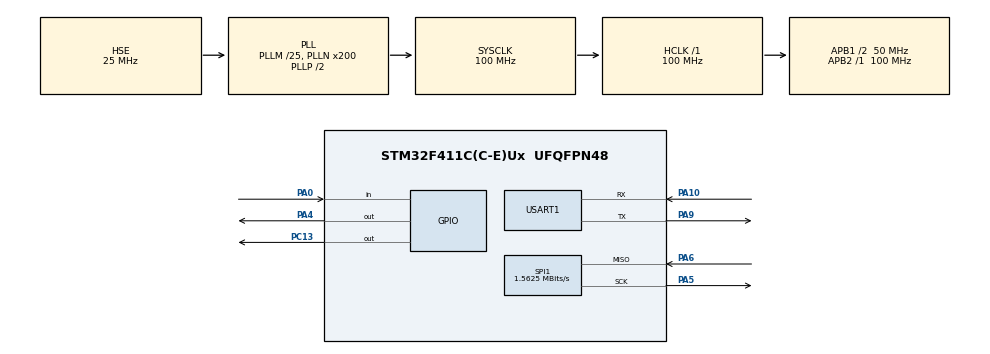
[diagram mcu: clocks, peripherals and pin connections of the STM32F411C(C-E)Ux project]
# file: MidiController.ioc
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Mcu.Family=STM32F4
Mcu.Name=STM32F411C(C-E)Ux
Mcu.Package=UFQFPN48
NVIC.PriorityGroup=NVIC_PRIORITYGROUP_4
NVIC.TIM3_IRQn=true\:5\:0\:false\:false\:true\:false\:true\:false
NVIC.TIM4_IRQn=true\:0\:0\:false\:false\:true\:true\:true\:true
PA0-WKUP.Signal=GPIO_Input
PA10.Mode=Asynchronous
PA10.Signal=USART1_RX
PA13.Mode=Trace_Asynchronous_SW
PA13.Signal=SYS_JTMS-SWDIO
PA14.Mode=Trace_Asynchronous_SW
PA14.Signal=SYS_JTCK-SWCLK
PA4.Signal=GPIO_Output
PA5.Mode=RX_Only_Simplex_Unidirect_Master
PA5.Signal=SPI1_SCK
PA6.Mode=RX_Only_Simplex_Unidirect_Master
PA6.Signal=SPI1_MISO
PA9.Mode=Asynchronous
PA9.Signal=USART1_TX
PB3.Mode=Trace_Asynchronous_SW
PB3.Signal=SYS_JTDO-SWO
PC13-ANTI_TAMP.Signal=GPIO_Output
PH0\ -\ OSC_IN.Mode=HSE-External-Oscillator
PH0\ -\ OSC_IN.Signal=RCC_OSC_IN
PH1\ -\ OSC_OUT.Mode=HSE-External-Oscillator
PH1\ -\ OSC_OUT.Signal=RCC_OSC_OUT
ProjectManager.HeapSize=0x200
ProjectManager.StackSize=0x400
ProjectManager.TargetToolchain=CMake
RCC.48MHZClocksFreq_Value=50000000
RCC.AHBFreq_Value=100000000
RCC.APB1CLKDivider=RCC_HCLK_DIV2
RCC.APB1Freq_Value=50000000
RCC.APB1TimFreq_Value=100000000
RCC.APB2Freq_Value=100000000
RCC.APB2TimFreq_Value=100000000
RCC.CortexFreq_Value=100000000
RCC.HCLKFreq_Value=100000000
RCC.HSE_VALUE=25000000
RCC.HSI_VALUE=16000000
RCC.LSE_VALUE=32768
RCC.PLLM=25
RCC.PLLN=200
RCC.PLLSourceVirtual=RCC_PLLSOURCE_HSE
RCC.SYSCLKFreq_VALUE=100000000
RCC.SYSCLKSource=RCC_SYSCLKSOURCE_PLLCLK
RCC.VCOOutputFreq_Value=200000000
SPI1.BaudRatePrescaler=SPI_BAUDRATEPRESCALER_64
SPI1.CalculateBaudRate=1.5625 MBits/s
SPI1.Direction=SPI_DIRECTION_2LINES_RXONLY
SPI1.Mode=SPI_MODE_MASTER
SPI1.VirtualType=VM_MASTER
TIM3.Period=4999
TIM3.Prescaler=9999
TIM4.Period=999
TIM4.Prescaler=99
USART1.VirtualMode=VM_ASYNC
VP_TIM3_VS_ClockSourceINT.Mode=Internal
VP_TIM4_VS_ClockSourceINT.Mode=Internal
board=custom

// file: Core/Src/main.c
/* USER CODE BEGIN Header */
/**
  ******************************************************************************
  * @file           : main.c
  * @brief          : Main program body
  ******************************************************************************
  * @attention
  *
  * Copyright (c) 2026 STMicroelectronics.
  * All rights reserved.
  *
  * This software is licensed under terms that can be found in the LICENSE file
  * in the root directory of this software component.
  * If no LICENSE file comes with this software, it is provided AS-IS.
  *
  ******************************************************************************
  */
/* USER CODE END Header */
#include "main.h"

/* USER CODE BEGIN Includes */
#include <stdio.h>
#include <stdbool.h>

#include "encoders.h"
#include "version.h"
/* USER CODE END Includes */

/* USER CODE BEGIN PM */
//#define LOG_SHOW_DECODER_BITS  1
/* USER CODE END PM */

SPI_HandleTypeDef hspi1;

TIM_HandleTypeDef htim3;
TIM_HandleTypeDef htim4;

UART_HandleTypeDef huart1;

/* USER CODE BEGIN PV */

bool g_debugLogging = false; // Debug logging initially turned off

/* USER CODE END PV */

void SystemClock_Config(void);
static void MX_GPIO_Init(void);
static void MX_USART1_UART_Init(void);
static void MX_TIM3_Init(void);
static void MX_SPI1_Init(void);
static void MX_TIM4_Init(void);
/* USER CODE BEGIN PFP */
static void CheckDebugButton(void);
static uint16_t Shift_Register_Read(void);
/* USER CODE END PFP */

int main(void)
{

  /* MCU Configuration--------------------------------------------------------*/

  /* Reset of all peripherals, Initializes the Flash interface and the Systick. */
  HAL_Init();

  /* Configure the system clock */
  SystemClock_Config();

  /* Initialize all configured peripherals */
  MX_GPIO_Init();
  MX_USART1_UART_Init();
  MX_TIM3_Init();
  MX_SPI1_Init();
  MX_TIM4_Init();
  /* USER CODE BEGIN 2 */
  printf("==============================\r\n");
  printf("MidiController %u.%u.%u.%u\r\n",
    VERSION_MAJOR, VERSION_MINOR, VERSION_PATCH, VERSION_BUILD);
  printf("Build: %s %s\r\n", __DATE__, __TIME__);
  printf("==============================\r\n");

  // Start the LED blink timer; the LED is toggled from HAL_TIM_PeriodElapsedCallback
  HAL_TIM_Base_Start_IT(&htim3);

  // Start the SPI timer for the encoder shift register; calls HAL_TIM_PeriodElapsedCallback
  HAL_TIM_Base_Start_IT(&htim4);

  /* USER CODE END 2 */

  /* Infinite loop */
  /* USER CODE BEGIN WHILE */
  int encoderTurnsPrev[ENCODER_COUNT] = {0};
  bool encoderButtonStatesPrev[ENCODER_COUNT] = {false};
  while (1)
  {
    // Wait until at least 500 ms has passed since startup to avoid false button presses during initialization
    if(HAL_GetTick() < 500)
      HAL_Delay(500);

    // Log any encoder turn changes
    for (int j = 0; j < ENCODER_COUNT; j++)
    {
      int turns = Encoders_GetTurns(j);
      if(turns != encoderTurnsPrev[j])
      {
        printf("E:%d T:%d\r\n", j, turns);
        encoderTurnsPrev[j] = turns;
      }

      bool buttonState = Encoders_GetButtonState(j);
      if(buttonState != encoderButtonStatesPrev[j])
      {
        printf("E:%d B:%d\r\n", j, buttonState);
        encoderButtonStatesPrev[j] = buttonState;
      }
    }
  }
    /* USER CODE END WHILE */

}

void SystemClock_Config(void)
{
  RCC_OscInitTypeDef RCC_OscInitStruct = {0};
  RCC_ClkInitTypeDef RCC_ClkInitStruct = {0};

  /** Configure the main internal regulator output voltage
  */
  __HAL_RCC_PWR_CLK_ENABLE();
  __HAL_PWR_VOLTAGESCALING_CONFIG(PWR_REGULATOR_VOLTAGE_SCALE1);

  /** Initializes the RCC Oscillators according to the specified parameters
  * in the RCC_OscInitTypeDef structure.
  */
  RCC_OscInitStruct.OscillatorType = RCC_OSCILLATORTYPE_HSE;
  RCC_OscInitStruct.HSEState = RCC_HSE_ON;
  RCC_OscInitStruct.PLL.PLLState = RCC_PLL_ON;
  RCC_OscInitStruct.PLL.PLLSource = RCC_PLLSOURCE_HSE;
  RCC_OscInitStruct.PLL.PLLM = 25;
  RCC_OscInitStruct.PLL.PLLN = 200;
  RCC_OscInitStruct.PLL.PLLP = RCC_PLLP_DIV2;
  RCC_OscInitStruct.PLL.PLLQ = 4;
  if (HAL_RCC_OscConfig(&RCC_OscInitStruct) != HAL_OK)
  {
    Error_Handler();
  }

  /** Initializes the CPU, AHB and APB buses clocks
  */
  RCC_ClkInitStruct.ClockType = RCC_CLOCKTYPE_HCLK|RCC_CLOCKTYPE_SYSCLK
                              |RCC_CLOCKTYPE_PCLK1|RCC_CLOCKTYPE_PCLK2;
  RCC_ClkInitStruct.SYSCLKSource = RCC_SYSCLKSOURCE_PLLCLK;
  RCC_ClkInitStruct.AHBCLKDivider = RCC_SYSCLK_DIV1;
  RCC_ClkInitStruct.APB1CLKDivider = RCC_HCLK_DIV2;
  RCC_ClkInitStruct.APB2CLKDivider = RCC_HCLK_DIV1;

  if (HAL_RCC_ClockConfig(&RCC_ClkInitStruct, FLASH_LATENCY_3) != HAL_OK)
  {
    Error_Handler();
  }
}

static void MX_SPI1_Init(void)
{

  /* SPI1 parameter configuration*/
  hspi1.Instance = SPI1;
  hspi1.Init.Mode = SPI_MODE_MASTER;
  hspi1.Init.Direction = SPI_DIRECTION_2LINES_RXONLY;
  hspi1.Init.DataSize = SPI_DATASIZE_8BIT;
  hspi1.Init.CLKPolarity = SPI_POLARITY_LOW;
  hspi1.Init.CLKPhase = SPI_PHASE_1EDGE;
  hspi1.Init.NSS = SPI_NSS_SOFT;
  hspi1.Init.BaudRatePrescaler = SPI_BAUDRATEPRESCALER_64;
  hspi1.Init.FirstBit = SPI_FIRSTBIT_MSB;
  hspi1.Init.TIMode = SPI_TIMODE_DISABLE;
  hspi1.Init.CRCCalculation = SPI_CRCCALCULATION_DISABLE;
  hspi1.Init.CRCPolynomial = 10;
  if (HAL_SPI_Init(&hspi1) != HAL_OK)
  {
    Error_Handler();
  }

}

static void MX_TIM3_Init(void)
{

  TIM_ClockConfigTypeDef sClockSourceConfig = {0};
  TIM_MasterConfigTypeDef sMasterConfig = {0};

  htim3.Instance = TIM3;
  htim3.Init.Prescaler = 9999;
  htim3.Init.CounterMode = TIM_COUNTERMODE_UP;
  htim3.Init.Period = 4999;
  htim3.Init.ClockDivision = TIM_CLOCKDIVISION_DIV1;
  htim3.Init.AutoReloadPreload = TIM_AUTORELOAD_PRELOAD_DISABLE;
  if (HAL_TIM_Base_Init(&htim3) != HAL_OK)
  {
    Error_Handler();
  }
  sClockSourceConfig.ClockSource = TIM_CLOCKSOURCE_INTERNAL;
  if (HAL_TIM_ConfigClockSource(&htim3, &sClockSourceConfig) != HAL_OK)
  {
    Error_Handler();
  }
  sMasterConfig.MasterOutputTrigger = TIM_TRGO_RESET;
  sMasterConfig.MasterSlaveMode = TIM_MASTERSLAVEMODE_DISABLE;
  if (HAL_TIMEx_MasterConfigSynchronization(&htim3, &sMasterConfig) != HAL_OK)
  {
    Error_Handler();
  }

}

static void MX_TIM4_Init(void)
{

  TIM_ClockConfigTypeDef sClockSourceConfig = {0};
  TIM_MasterConfigTypeDef sMasterConfig = {0};

  htim4.Instance = TIM4;
  htim4.Init.Prescaler = 99;
  htim4.Init.CounterMode = TIM_COUNTERMODE_UP;
  htim4.Init.Period = 999;
  htim4.Init.ClockDivision = TIM_CLOCKDIVISION_DIV1;
  htim4.Init.AutoReloadPreload = TIM_AUTORELOAD_PRELOAD_DISABLE;
  if (HAL_TIM_Base_Init(&htim4) != HAL_OK)
  {
    Error_Handler();
  }
  sClockSourceConfig.ClockSource = TIM_CLOCKSOURCE_INTERNAL;
  if (HAL_TIM_ConfigClockSource(&htim4, &sClockSourceConfig) != HAL_OK)
  {
    Error_Handler();
  }
  sMasterConfig.MasterOutputTrigger = TIM_TRGO_RESET;
  sMasterConfig.MasterSlaveMode = TIM_MASTERSLAVEMODE_DISABLE;
  if (HAL_TIMEx_MasterConfigSynchronization(&htim4, &sMasterConfig) != HAL_OK)
  {
    Error_Handler();
  }

}

static void MX_USART1_UART_Init(void)
{

  huart1.Instance = USART1;
  huart1.Init.BaudRate = 115200;
  huart1.Init.WordLength = UART_WORDLENGTH_8B;
  huart1.Init.StopBits = UART_STOPBITS_1;
  huart1.Init.Parity = UART_PARITY_NONE;
  huart1.Init.Mode = UART_MODE_TX_RX;
  huart1.Init.HwFlowCtl = UART_HWCONTROL_NONE;
  huart1.Init.OverSampling = UART_OVERSAMPLING_16;
  if (HAL_UART_Init(&huart1) != HAL_OK)
  {
    Error_Handler();
  }

}

static void MX_GPIO_Init(void)
{
  GPIO_InitTypeDef GPIO_InitStruct = {0};

  /* GPIO Ports Clock Enable */
  __HAL_RCC_GPIOC_CLK_ENABLE();
  __HAL_RCC_GPIOH_CLK_ENABLE();
  __HAL_RCC_GPIOA_CLK_ENABLE();
  __HAL_RCC_GPIOB_CLK_ENABLE();

  /*Configure GPIO pin Output Level */
  HAL_GPIO_WritePin(GPIOC, GPIO_PIN_13, GPIO_PIN_RESET);

  /*Configure GPIO pin Output Level */
  HAL_GPIO_WritePin(GPIOA, GPIO_PIN_4, GPIO_PIN_RESET);

  /*Configure GPIO pin : PC13 */
  GPIO_InitStruct.Pin = GPIO_PIN_13;
  GPIO_InitStruct.Mode = GPIO_MODE_OUTPUT_PP;
  GPIO_InitStruct.Pull = GPIO_NOPULL;
  GPIO_InitStruct.Speed = GPIO_SPEED_FREQ_LOW;
  HAL_GPIO_Init(GPIOC, &GPIO_InitStruct);

  /*Configure GPIO pin : PA0 */
  GPIO_InitStruct.Pin = GPIO_PIN_0;
  GPIO_InitStruct.Mode = GPIO_MODE_INPUT;
  GPIO_InitStruct.Pull = GPIO_NOPULL;
  HAL_GPIO_Init(GPIOA, &GPIO_InitStruct);

  /*Configure GPIO pin : PA4 */
  GPIO_InitStruct.Pin = GPIO_PIN_4;
  GPIO_InitStruct.Mode = GPIO_MODE_OUTPUT_PP;
  GPIO_InitStruct.Pull = GPIO_NOPULL;
  GPIO_InitStruct.Speed = GPIO_SPEED_FREQ_LOW;
  HAL_GPIO_Init(GPIOA, &GPIO_InitStruct);

}

/* USER CODE BEGIN 4 */

/**
  * @brief  Toggles the Black Pill's onboard LED on each TIM3 update event.
  */
void HAL_TIM_PeriodElapsedCallback(TIM_HandleTypeDef *htim)
{

  if (htim->Instance == TIM3)
    {
      HAL_GPIO_TogglePin(GPIOC, GPIO_PIN_13);
  }

  if (htim->Instance == TIM4)
  {
    // Check the debug button to toggle debug logging
    CheckDebugButton();

    // Get the encoder states from the shift register
    uint16_t encoderValues = Shift_Register_Read();

    // Pass the encoder states to the Encoders module for processing
    Encoders_Update(encoderValues);
  }
}

/**
  * @brief  Retargets printf to USART1.
  */
int __io_putchar(int ch)
{
  uint8_t c = (uint8_t)ch;
  HAL_UART_Transmit(&huart1, &c, 1, HAL_MAX_DELAY);
  return ch;
}

/**
  * @brief  Latches the SN74Shift_Register's parallel inputs and shifts out 16 bits via QH.
  * @retval uint16_t Parallel input state, MSB (H) first.
  */
static uint16_t Shift_Register_Read(void)
{
  uint16_t value = 0;
  static uint16_t prevValue = 0;

  /* Pulse SH/LD low to load the parallel inputs, then high to enable shifting */
  HAL_GPIO_WritePin(Shift_Register_SHLD_GPIO_Port, Shift_Register_SHLD_Pin, GPIO_PIN_RESET);
  HAL_GPIO_WritePin(Shift_Register_SHLD_GPIO_Port, Shift_Register_SHLD_Pin, GPIO_PIN_SET);

  uint8_t buffer[2] = {0};
  HAL_SPI_Receive(&hspi1, buffer, 2, 1);
  value = (buffer[0] << 8) | buffer[1];

  if (g_debugLogging && value != prevValue)
  {
      for(uint8_t i = 0; i < 16; ++i)
      {
          printf("%d", (value >> (15 - i)) & 0x01);
      }
      printf("\r\n");
  }
  prevValue = value;

  return value;
}

void CheckDebugButton()
{
    static uint32_t lastButtonCheckTickMs = 0;
    static GPIO_PinState prevPa0State = GPIO_PIN_SET;

    uint32_t currentTimeMs = HAL_GetTick();

    // Wait until at least 500 ms has passed since startup to avoid false button presses during initialization
    if(currentTimeMs < 500)
    {
       return;
    }

    if ((currentTimeMs - lastButtonCheckTickMs) > 100) // Debounce button press
    {
      // Check if the button on PA0 was pressed to toggle debug logging
      GPIO_PinState pa0State = HAL_GPIO_ReadPin(GPIOA, GPIO_PIN_0);
      if (pa0State == GPIO_PIN_RESET && pa0State != prevPa0State)
      {
        g_debugLogging = !g_debugLogging;
        printf("Debug logging toggled %s\r\n", g_debugLogging ? "on" : "off");
      }
      prevPa0State = pa0State;
      lastButtonCheckTickMs = currentTimeMs;
    }
  }

/* USER CODE END 4 */

void Error_Handler(void)
{
  __disable_irq();
  while (1)
  {
  }
}
